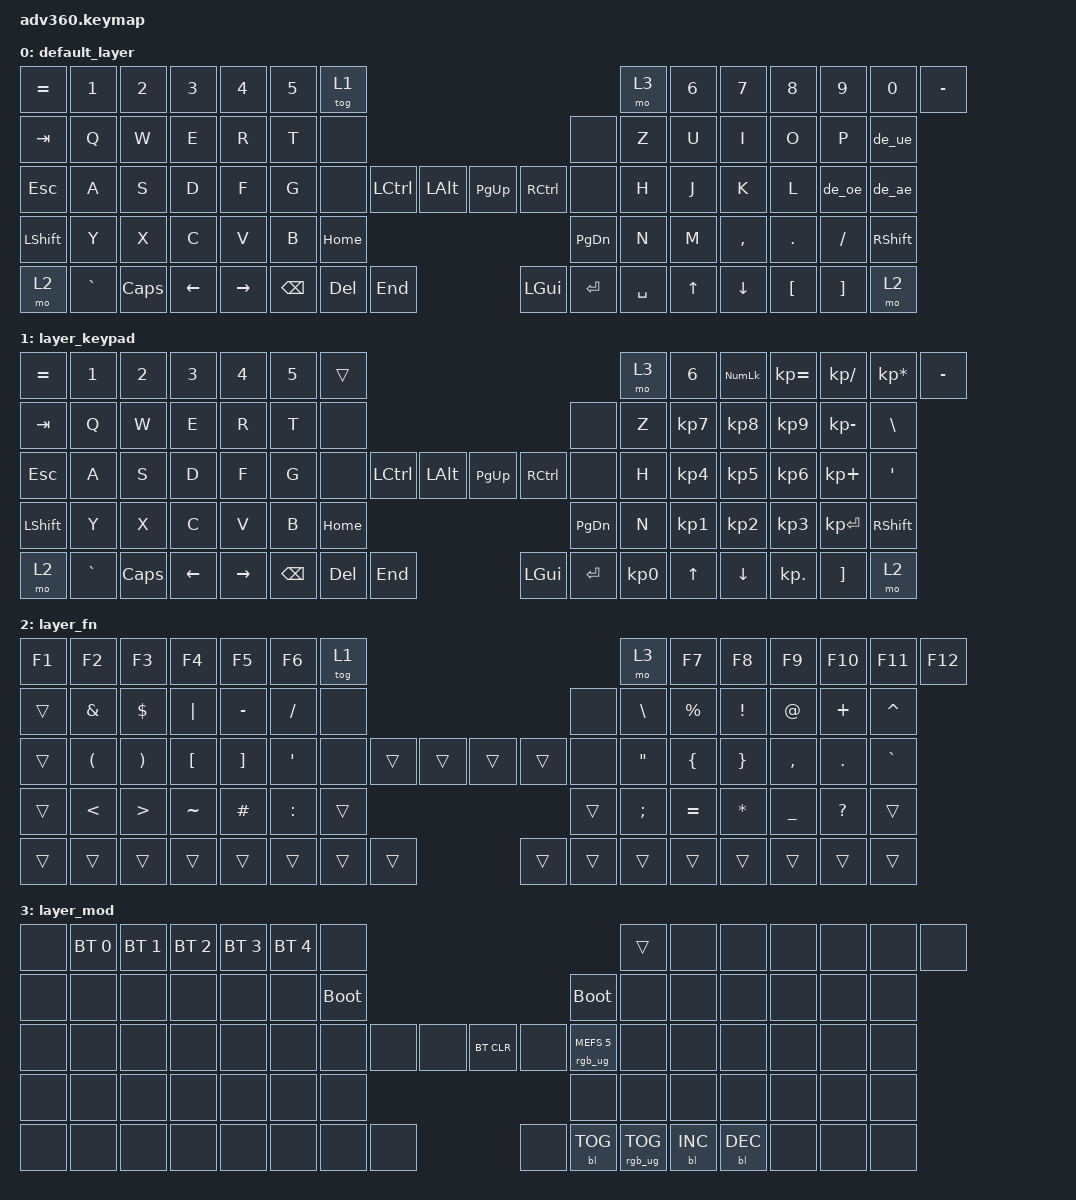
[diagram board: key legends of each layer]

/*
 * Copyright (c) 2020 The ZMK Contributors
 *
 * SPDX-License-Identifier: MIT
 */


/* THIS FILE WAS GENERATED!
 *
 *
 * This file was generated automatically. You may or may not want to
 * edit it directly.
 */

#include <behaviors.dtsi>
#include <dt-bindings/zmk/keys.h>
#include <dt-bindings/zmk/bt.h>
#include <dt-bindings/zmk/rgb.h>
#include <dt-bindings/zmk/backlight.h>
#include <dt-bindings/zmk/modifiers.h>

#include "zmk-helpers/helper.h"

// Source desired key-position labels
#include "zmk-helpers/key-labels/glove80.h"

/ {
  behaviors {
    #include "macros.dtsi"
    #include "version.dtsi"

    de_ae_lower: de_ae_lower {
        compatible = "zmk,behavior-macro";
        label = "DE_AE_LOWER";
        #binding-cells = <0>;
        bindings
            = <&macro_press &kp LCTRL &kp LSHFT>
            , <&macro_tap &kp U &kp N0 &kp N0 &kp E &kp N4 &kp SPACE>
            , <&macro_release &kp LCTRL &kp LSHFT>
            ;
    };

    de_ae_upper: de_ae_upper {
        compatible = "zmk,behavior-macro";
        label = "DE_AE_UPPER";
        #binding-cells = <0>;
        bindings
            = <&macro_press &kp LCTRL &kp LSHFT>
            , <&macro_tap &kp U &kp N0 &kp N0 &kp C &kp N4 &kp SPACE>
            , <&macro_release &kp LCTRL &kp LSHFT>
            ;
    };

    de_oe_lower: de_oe_lower {
        compatible = "zmk,behavior-macro";
        label = "DE_OE_LOWER";
        #binding-cells = <0>;
        bindings
            = <&macro_press &kp LCTRL &kp LSHFT>
            , <&macro_tap &kp U &kp N0 &kp N0 &kp F &kp N6 &kp SPACE>
            , <&macro_release &kp LCTRL &kp LSHFT>
            ;
    };

    de_oe_upper: de_oe_upper {
        compatible = "zmk,behavior-macro";
        label = "DE_OE_UPPER";
        #binding-cells = <0>;
        bindings
            = <&macro_press &kp LCTRL &kp LSHFT>
            , <&macro_tap &kp U &kp N0 &kp N0 &kp D &kp N6 &kp SPACE>
            , <&macro_release &kp LCTRL &kp LSHFT>
            ;
    };

    de_ue_lower: de_ue_lower {
        compatible = "zmk,behavior-macro";
        label = "DE_UE_LOWER";
        #binding-cells = <0>;
        bindings
            = <&macro_press &kp LCTRL &kp LSHFT>
            , <&macro_tap &kp U &kp N0 &kp N0 &kp F &kp C &kp SPACE>
            , <&macro_release &kp LCTRL &kp LSHFT>
            ;
    };

    de_ue_upper: de_ue_upper {
        compatible = "zmk,behavior-macro";
        label = "DE_UE_UPPER";
        #binding-cells = <0>;
        bindings
            = <&macro_press &kp LCTRL &kp LSHFT>
            , <&macro_tap &kp U &kp N0 &kp N0 &kp D &kp C &kp SPACE>
            , <&macro_release &kp LCTRL &kp LSHFT>
            ;
    };

    de_ae: de_ae {
        compatible = "zmk,behavior-mod-morph";
        label = "DE_AE";
        #binding-cells = <0>;
        bindings = <&de_ae_lower>, <&de_ae_upper>;
        mods = <(MOD_LSFT|MOD_RSFT)>;
    };

    de_oe: de_oe {
        compatible = "zmk,behavior-mod-morph";
        label = "DE_OE";
        #binding-cells = <0>;
        bindings = <&de_oe_lower>, <&de_oe_upper>;
        mods = <(MOD_LSFT|MOD_RSFT)>;
    };

    de_ue: de_ue {
        compatible = "zmk,behavior-mod-morph";
        label = "DE_UE";
        #binding-cells = <0>;
        bindings = <&de_ue_lower>, <&de_ue_upper>;
        mods = <(MOD_LSFT|MOD_RSFT)>;
    };

    hm: homerow_mods {
        compatible = "zmk,behavior-hold-tap";
        label = "HOMEROW_MODS";
        #binding-cells = <2>;
        tapping-term-ms = <200>;
        quick_tap_ms = <175>;
        flavor = "tap-preferred";
        bindings = <&kp>, <&kp>;
    };
  };

    keymap {
        compatible = "zmk,keymap";


        default_layer {
            bindings = <
 &kp EQUAL     &kp N1    &kp N2    &kp N3     &kp N4  &kp N5              &tog 1                                                                 &mo 3  &kp N6  &kp N7     &kp N8    &kp N9    &kp N0  &kp MINUS
   &kp TAB      &kp Q     &kp W     &kp E      &kp R   &kp T               &none                                                                 &none   &kp Z   &kp U      &kp I     &kp O     &kp P   &de_ue
   &kp ESC      &kp A     &kp S     &kp D      &kp F   &kp G               &none  &kp LCTRL  &kp LALT                   &kp PG_UP &kp RCTRL      &none   &kp H   &kp J      &kp K     &kp L  &de_oe     &de_ae
 &kp LSHFT      &kp Y     &kp X     &kp C      &kp V   &kp B                                 &kp HOME                  &kp PG_DN                         &kp N   &kp M  &kp COMMA   &kp DOT  &kp FSLH  &kp RSHFT
     &mo 2  &kp GRAVE  &kp CAPS  &kp LEFT  &kp RIGHT                    &kp BSPC    &kp DEL   &kp END                  &kp LGUI  &kp ENTER  &kp SPACE          &kp UP   &kp DOWN  &kp LBKT  &kp RBKT      &mo 2
            >;
        };

        layer_keypad {
            bindings = <
 &kp EQUAL     &kp N1    &kp N2    &kp N3     &kp N4  &kp N5              &trans                                                                 &mo 3  &kp N6  &kp KP_NUM  &kp KP_EQUAL  &kp KP_DIVIDE  &kp KP_MULTIPLY  &kp MINUS
   &kp TAB      &kp Q     &kp W     &kp E      &kp R   &kp T               &none                                                                 &none   &kp Z   &kp KP_N7     &kp KP_N8      &kp KP_N9     &kp KP_MINUS   &kp BSLH
   &kp ESC      &kp A     &kp S     &kp D      &kp F   &kp G               &none  &kp LCTRL  &kp LALT                   &kp PG_UP  &kp RCTRL      &none   &kp H   &kp KP_N4     &kp KP_N5      &kp KP_N6      &kp KP_PLUS    &kp SQT
 &kp LSHFT      &kp Y     &kp X     &kp C      &kp V   &kp B                                 &kp HOME                  &kp PG_DN                         &kp N   &kp KP_N1     &kp KP_N2      &kp KP_N3     &kp KP_ENTER  &kp RSHFT
     &mo 2  &kp GRAVE  &kp CAPS  &kp LEFT  &kp RIGHT                    &kp BSPC    &kp DEL   &kp END                  &kp LGUI  &kp ENTER  &kp KP_N0              &kp UP      &kp DOWN     &kp KP_DOT         &kp RBKT      &mo 2
            >;
        };

        layer_fn {
            bindings = <
 &kp F1  &kp F2  &kp F3  &kp F4  &kp F5  &kp F6            &tog 1                                                   &mo 3  &kp F7  &kp F8  &kp F9  &kp F10  &kp F11  &kp F12
 &trans &kp AMPS &kp DLLR &kp PIPE &kp MINUS &kp SLASH            &none                                                  &none &kp BACKSLASH &kp PRCNT &kp EXCL  &kp AT  &kp PLUS  &kp CARET
 &trans &kp LPAR &kp RPAR &kp LBKT &kp RBKT &kp SQT            &none &trans &trans &trans &trans               &none &kp DQT &kp LBRC &kp RBRC  &kp COMMA  &kp DOT  &kp GRAVE
 &trans &kp LT &kp GT &kp TILDE &kp HASH &kp COLON             &trans &trans                                                     &kp SEMICOLON &kp EQUAL &kp ASTERISK  &kp UNDERSCORE  &kp QMARK  &trans
 &trans  &trans  &trans  &trans  &trans                    &trans  &trans  &trans                  &trans  &trans  &trans          &trans  &trans   &trans   &trans   &trans
            >;
        };

        layer_mod {
            bindings = <
  &none  &bt BT_SEL 0  &bt BT_SEL 1  &bt BT_SEL 2  &bt BT_SEL 3  &bt BT_SEL 4                  &none                                                                          &trans   &none       &none       &none   &none   &none   &none
  &none         &none         &none         &none         &none         &none            &bootloader                                                                     &bootloader   &none       &none       &none   &none   &none   &none
  &none         &none         &none         &none         &none         &none                  &none   &none   &none                  &bt BT_CLR       &none  &rgb_ug RGB_MEFS_CMD 5   &none       &none       &none   &none   &none   &none
  &none         &none         &none         &none         &none         &none                                  &none                       &none                                       &none       &none       &none   &none   &none   &none
  &none         &none         &none         &none         &none                                &none   &none   &none                       &none  &bl BL_TOG         &rgb_ug RGB_TOG          &bl BL_INC  &bl BL_DEC   &none   &none   &none
            >;
        };

    };
};
